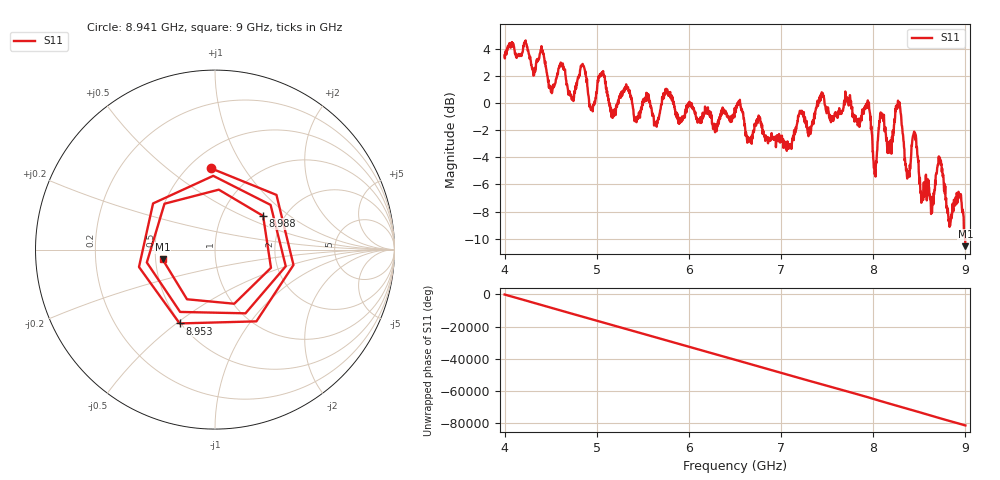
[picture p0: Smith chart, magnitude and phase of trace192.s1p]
! Created with skrf 1.8.0 (http://scikit-rf.org).
# Hz S RI R 50.0
!freq ReS11 ImS11
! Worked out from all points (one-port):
!   1601 points, 4 GHz to 9 GHz, reference 50 ohm
!   lowest |S11| = -10.5 dB at 9 GHz (marker M1), VSWR 1.84, Z = 27.3 - j3.27 ohm
!   |S11| at or under -10 dB: 8.997211 GHz to end of sweep
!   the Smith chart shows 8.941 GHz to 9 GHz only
!   S11 on the Smith chart (normalised r, x): 8.941 GHz: 0.63, +0.72; 8.953 GHz: 0.49, -0.51; 8.988 GHz: 1.56, +0.66; 9 GHz: 0.55, -0.07
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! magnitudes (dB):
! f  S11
! 4 GHz  3.5
! 4.406 GHz  3.8
! 4.503 GHz  0.8
! 4.625 GHz  2.8
! 4.728 GHz  0.3
! 4.844 GHz  2.8
! 4.941 GHz  -0.4
! 5.05 GHz  2.0
! 5.25 GHz  0.4
! 5.875 GHz  -0.8
! 6.5 GHz  -0.6
! 7.125 GHz  -2.7
! 7.75 GHz  0.4
! 7.947 GHz  -0.3
! 8.019 GHz  -5.1
! 8.081 GHz  -0.7
! 8.175 GHz  -3.4
! 8.272 GHz  -0.1
! 8.375 GHz  -5.2
! 8.447 GHz  -2.3
! 8.528 GHz  -6.6
! 8.641 GHz  -7.6
! 8.722 GHz  -4.0
! 8.828 GHz  -9.1
! 8.941 GHz  -6.9
! 8.953 GHz  -6.8
! 8.988 GHz  -9.7
! 9 GHz  -10.5
